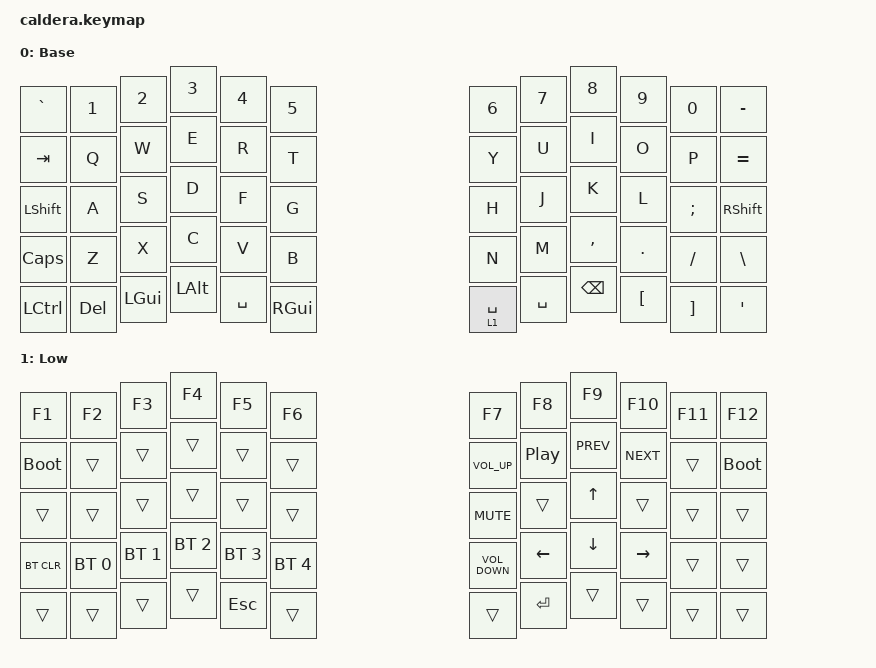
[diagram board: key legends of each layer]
#include <behaviors.dtsi>
#include <dt-bindings/zmk/keys.h>
#include <dt-bindings/zmk/bt.h>

/ {
        keymap {
                compatible = "zmk,keymap";

                default_layer {
                        label = "Base";
                        bindings = <
   &kp GRAVE  &kp N1     &kp N2    &kp N3    &kp N4     &kp N5               &kp N6       &kp N7     &kp N8     &kp N9    &kp N0    &kp MINUS
   &kp TAB    &kp Q      &kp W     &kp E     &kp R      &kp T                &kp Y        &kp U      &kp I      &kp O     &kp P     &kp EQUAL
   &kp LSHFT  &kp A      &kp S     &kp D     &kp F      &kp G                &kp H        &kp J      &kp K      &kp L     &kp SEMI  &kp RSHFT
   &kp CAPS   &kp Z      &kp X     &kp C     &kp V      &kp B                &kp N        &kp M      &kp COMMA  &kp DOT   &kp FSLH  &kp BSLH
   &kp LCTRL  &kp DEL    &kp LGUI  &kp LALT  &kp SPACE  &kp RGUI             &lt 1 SPACE  &kp SPACE  &kp BSPC   &kp LBKT  &kp RBKT  &kp APOS
                        >;
                };
                lower_layer {
                        label = "Low";
                        bindings = <
   &kp F1       &kp F2        &kp F3        &kp F4        &kp F5        &kp F6               &kp F7             &kp F8      &kp F9      &kp F10     &kp F11  &kp F12
   &bootloader  &trans        &trans        &trans        &trans        &trans               &kp C_VOLUME_UP    &kp C_PP    &kp C_PREV  &kp C_NEXT  &trans   &bootloader
   &trans       &trans        &trans        &trans        &trans        &trans               &kp C_MUTE         &trans      &kp UP      &trans      &trans   &trans
   &bt BT_CLR   &bt BT_SEL 0  &bt BT_SEL 1  &bt BT_SEL 2  &bt BT_SEL 3  &bt BT_SEL 4         &kp C_VOLUME_DOWN  &kp LEFT    &kp DOWN    &kp RIGHT   &trans   &trans
   &trans       &trans        &trans        &trans        &kp ESC       &trans               &trans             &kp RET     &trans      &trans      &trans   &trans
                        >;
                };
        };
};
